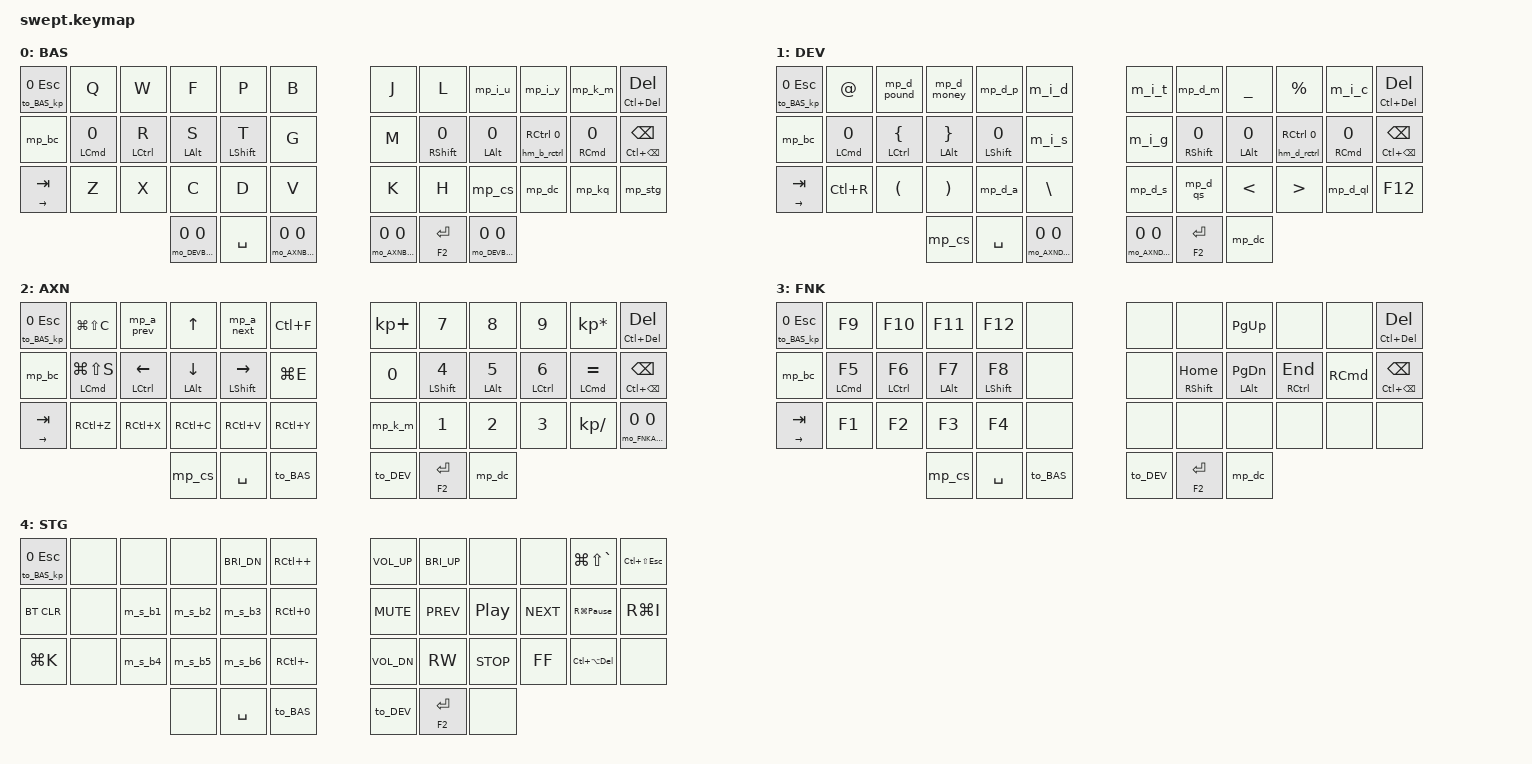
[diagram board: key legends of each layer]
/*
 * Copyright (c) 2020 The ZMK Contributors
 *
 * SPDX-License-Identifier: MIT
 */

#include <behaviors.dtsi>
#include <dt-bindings/zmk/keys.h>
#include <dt-bindings/zmk/bt.h>

&mt {
    flavor = "tap-preferred";
    tapping-term-ms = <220>;
    quick-tap-ms = <220>;               // repeat on tap-into-hold
    hold-trigger-key-positions = <0>;   // tap on interrupt
};

/* Layers */
#define BAS    0
#define DEV    1
#define AXN    2
#define FNK    3
#define STG    4

#define H_CWR  F18

#define F_BAS  F19
#define F_DEV  F20
#define F_AXN  F21
#define F_FNK  F22
#define F_STG  F23

/* Shared Keys */
#define KEY_ESC     &to_BAS_kp  0         ESC    // tap: esc       | long-tap: BAS layer
#define KEY_TAB     &mt         RIGHT     TAB    // tap: tab       | long-tap: right (terminal autocompletion)
#define KEY_RET     &mt         F2        RET    // tap: return    | long-tap: rename (like macOs)
#define KEY_SPC     &kp         SPACE
#define NAV_BSPC    &mt         LC(BSPC)  BSPC   // tap: bspc      | long-tap: delete word backward
#define NAV_DEL     &mt         LC(DEL)   DEL    // tap: del       | long-tap: delete word forward

/ {
    behaviors {
        #include "morph/shared.dtsi"

        #include "morph/base.dtsi"
        #include "morph/international.dtsi"
        #include "morph/actions.dtsi"
        #include "morph/num.dtsi"
        #include "morph/dev.dtsi"

        #include "hold/shared.dtsi"
        #include "hold/base.dtsi"
        #include "hold/dev.dtsi"
    };

    combos {
        compatible = "zmk,combos";

        #include "combos/base.dtsi"
        #include "combos/help.dtsi"
    };

    macros {
        #include "macros/shared.dtsi"
        #include "macros/international.dtsi"
        #include "macros/dev.dtsi"
        #include "macros/settings.dtsi"
    };

    keymap {
        compatible = "zmk,keymap";

        base_layer {
            #define B13  &hm_b_lcmd  LCMD   0  //A
            #define B14  &hm LCTRL   R
            #define B15  &hm LALT    S
            #define B16  &hm LSHFT   T

            #define B19  &hm_b_rshf  RSHFT  0  //N
            #define B20  &hm_b_ralt  LALT   0  //E
            #define B21  &hm_b_rctrl RCTRL  0  //I
            #define B22  &hm_b_rcmd  RCMD   0  //O

            #define B35  &mp_stg

            #define B36  &mo_DEVBAS_to_DEV  0 0
            #define B38  &mo_AXNBAS_to_AXN  0 0
            #define B39  &mo_AXNBAS_to_FNK  0 0
            #define B41  &mo_DEVBAS_to_DEV  0 0

            label = "BAS";
            bindings = <
    KEY_ESC  &kp Q  &kp W  &kp F    &kp P  &kp B             &kp J    &kp L  &mp_i_u  &mp_i_y  &mp_k_m    NAV_DEL
     &mp_bc    B13    B14    B15      B16  &kp G             &kp M      B19      B20      B21      B22   NAV_BSPC
    KEY_TAB  &kp Z  &kp X  &kp C    &kp D  &kp V             &kp K    &kp H   &mp_cs   &mp_dc   &mp_kq        B35
                             B36  KEY_SPC    B38               B39  KEY_RET      B41
            >;
        };

        dev_layer {
            #define D13  &hm_d_lcmd  LCMD    0
            #define D14  &hm         LCTRL   LBRC
            #define D15  &hm         LALT    RBRC
            #define D16  &hm_d_lshf  LSHFT   0

            #define D19  &hm_d_rshf  RSHFT   0
            #define D20  &hm_d_ralt  LALT    0
            #define D21  &hm_d_rctrl RCTRL   0
            #define D22  &hm_d_rcmd  RCMD    0

            #define D38  &mo_AXNDEV_to_BAS  0 0
            #define D39  &mo_AXNDEV_to_AXN  0 0

            label = "DEV";
            bindings = <
    KEY_ESC     &kp AT  &mp_d_pound  &mp_d_money  &mp_d_p     &m_i_d             &m_i_t   &mp_d_m  &kp UNDER  &kp PRCNT     &m_i_c    NAV_DEL
     &mp_bc        D13          D14          D15      D16     &m_i_s             &m_i_g       D19        D20        D21        D22   NAV_BSPC
    KEY_TAB  &kp LC(R)     &kp LPAR     &kp RPAR  &mp_d_a   &kp BSLH            &mp_d_s  &mp_d_qs     &kp LT     &kp GT   &mp_d_ql    &kp F12
                                          &mp_cs  KEY_SPC        D38                D39   KEY_RET     &mp_dc
            >;
        };

        act_num_layer {
            #define A01  &kp LG(LS(C))           // tap: color picker
            #define A05  &kp LC(F)               // tap: find
            #define A13  &hm LCMD   LG(LS(S))    // tap: printscreen
            #define A14  &hm LCTRL  LEFT
            #define A15  &hm LALT   DOWN
            #define A16  &hm LSHFT  RIGHT
            #define A17  &kp LG(E)               // tap: file explorer

            #define A19  &hm LSHFT  N4
            #define A20  &hm LALT   N5
            #define A21  &hm LCTRL  N6
            #define A22  &hm LCMD   EQUAL

            #define A35 &mo_FNKAXN_to_FNK    0 0

            #define A38  &to_BAS
            #define A39  &to_DEV

            #define KEY_UNDO    &kp RC(Z)       // tap: undo
            #define KEY_REDO    &kp RC(Y)       // tap: redo
            #define KEY_CUT     &kp RC(X)       // tap: cut
            #define KEY_COPY    &kp RC(C)       // tap: copy
            #define KEY_PASTE   &kp RC(V)       // tap: paste     | shift: paste without format

            label = "AXN";
            bindings = <
    KEY_ESC       A01  &mp_a_prev    &kp UP  &mp_a_next       A05            &kp KP_PLUS   &kp N7  &kp N8  &kp N9  &kp KP_MULTIPLY   NAV_DEL
     &mp_bc       A13         A14       A15         A16       A17                 &kp N0      A19     A20     A21              A22  NAV_BSPC
    KEY_TAB  KEY_UNDO     KEY_CUT  KEY_COPY   KEY_PASTE  KEY_REDO                &mp_k_m   &kp N1  &kp N2  &kp N3    &kp KP_DIVIDE       A35
                                     &mp_cs     KEY_SPC       A38                    A39  KEY_RET  &mp_dc
            >;
        };

        functions_layer {
            #define K13  &hm LCMD   F5
            #define K14  &hm LCTRL  F6
            #define K15  &hm LALT   F7
            #define K16  &hm LSHFT  F8

            #define K19  &hm RSHFT  HOME
            #define K20  &hm LALT   PG_DN
            #define K21  &hm RCTRL  END
            #define K22  &kp RCMD

            #define K38  &to_BAS
            #define K39  &to_DEV

            label = "FNK";
            bindings = <
    KEY_ESC  &kp F9  &kp F10  &kp F11  &kp F12  &none                  &none    &none  &kp PG_UP    &none    &none   NAV_DEL
     &mp_bc     K13      K14      K15      K16  &none                  &none      K19        K20      K21      K22  NAV_BSPC
    KEY_TAB  &kp F1   &kp F2   &kp F3   &kp F4  &none                  &none    &none      &none    &none    &none     &none
                               &mp_cs  KEY_SPC    K38                    K39  KEY_RET     &mp_dc
            >;
        };

        settings_layer {
            #define S10  &kp LG(LS(GRAVE))    // tap: fancy zones
            #define S11  &kp LC(LS(ESC))      // tap: task manager
            #define S24  &kp LG(K)            // tap: connect quick action

            #define S22  &kp RG(PAUSE_BREAK)  // tap: system info
            #define S23  &kp RG(I)            // tap: windows settings
            #define S34  &kp LC(LA(DEL))      // tap: windows security

            #define S05  &kp RC(PLUS)         // tap: zoom in
            #define S17  &kp RC(N0)           // tap: zoom reset
            #define S29  &kp RC(MINUS)        // tap: zoom out

            label = "STG";
            bindings = <
       KEY_ESC  &none    &none    &none  &kp C_BRI_DN       S05          &kp C_VOL_UP  &kp C_BRI_UP       &none       &none  S10    S11
    &bt BT_CLR  &none  &m_s_b1  &m_s_b2       &m_s_b3       S17            &kp C_MUTE    &kp C_PREV    &kp C_PP  &kp C_NEXT  S22    S23
           S24  &none  &m_s_b4  &m_s_b5       &m_s_b6       S29          &kp C_VOL_DN      &kp C_RW  &kp C_STOP    &kp C_FF  S34  &none
                                  &none       KEY_SPC   &to_BAS               &to_DEV       KEY_RET       &none
            >;
        };
    };
};
